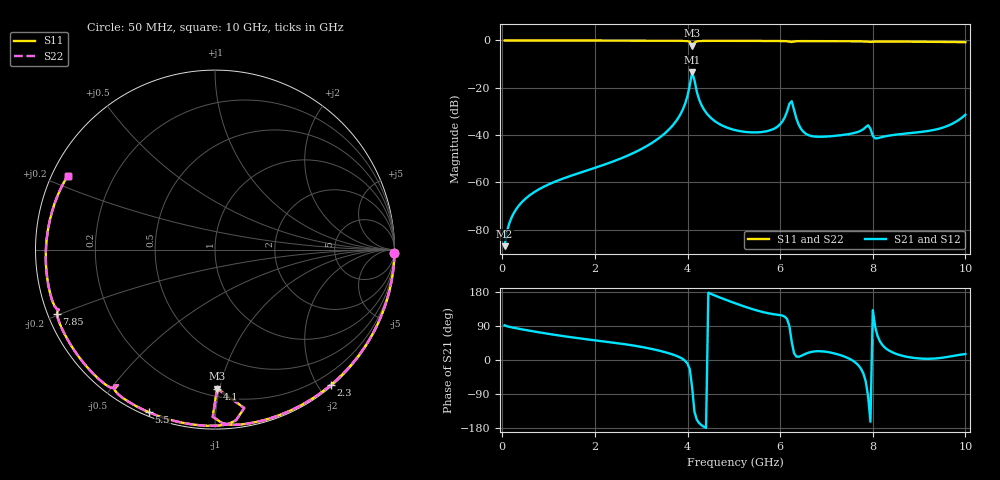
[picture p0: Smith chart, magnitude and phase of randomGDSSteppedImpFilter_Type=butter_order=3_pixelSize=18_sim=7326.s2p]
! freq	dB(S11)	phase(S11)	dB(S12)	phase(S12)
!  dB(S21)	phase(S21)	dB(S22)	phase(S22)
!S-par simulation data
#  GHz  S  DB  R 50
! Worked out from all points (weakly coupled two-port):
!   200 points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, 50 MHz to 10 GHz, reference 50 ohm
!   highest |S21| = -13.33 dB at 4.1 GHz (marker M1); lowest = -87.0 dB at 50 MHz (marker M2)
!   lowest |S11| = -2.2 dB at 4.1 GHz (marker M3), VSWR 7.85, Z = 12.7 - j49.1 ohm
!   |S11| at or under -10 dB: nowhere
!   |S22| runs from -2.2 to 0.0 dB; largest |S21 - S12| = 0
!   S11 on the Smith chart (normalised r, x): 50 MHz: open; 2.3 GHz: 0.02, -2.17; 4.1 GHz: 0.25, -0.98; 5.5 GHz: 0.02, -0.67; 7.85 GHz: 0.03, -0.19; 10 GHz: 0.05, +0.24
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0.05  -0.00 -1.1  -86.99 91.6  -86.99 91.6  -0.00 -1.1
0.6  -0.01 -13.2  -65.36 77.1  -65.36 77.1  -0.01 -13.2
1.75  -0.05 -37.9  -55.47 55.8  -55.47 55.8  -0.05 -37.9
2.3  -0.06 -49.5  -51.84 47.4  -51.84 47.4  -0.06 -49.5
3.4  -0.10 -72.3  -41.04 24.3  -41.04 24.3  -0.10 -72.3
3.9  -0.16 -83.8  -29.12 2.4  -29.12 2.4  -0.16 -83.7
4  -0.28 -87.6  -23.44 -9.7  -23.44 -9.7  -0.28 -87.5
4.1  -2.22 -89.1  -13.33 -73.2  -13.33 -73.2  -2.20 -89.0
4.15  -0.94 -79.5  -16.82 -136.6  -16.82 -136.6  -0.93 -79.6
4.25  -0.24 -85.3  -24.93 -166.3  -24.93 -166.3  -0.24 -85.3
4.4  -0.16 -89.7  -30.48 -179.3  -30.48 -179.3  -0.16 -89.7
5.05  -0.17 -103.3  -38.00 148.8  -38.00 148.8  -0.17 -103.3
5.5  -0.19 -112.1  -38.87 130.6  -38.87 130.6  -0.19 -112.0
5.95  -0.23 -121.0  -36.32 119.3  -36.32 119.3  -0.23 -120.9
6.25  -0.64 -125.6  -25.69 48.1  -25.69 48.1  -0.65 -125.6
6.45  -0.28 -129.3  -37.36 10.7  -37.36 10.7  -0.28 -129.3
6.7  -0.28 -134.5  -40.51 22.0  -40.51 22.0  -0.28 -134.4
7.85  -0.45 -157.9  -36.63 -57.4  -36.63 -57.4  -0.45 -157.8
8.05  -0.47 -160.6  -41.40 89.0  -41.40 89.0  -0.47 -160.6
8.35  -0.45 -167.2  -40.24 25.0  -40.24 25.0  -0.45 -167.2
9.45  -0.60 167.8  -37.23 5.2  -37.23 5.2  -0.60 167.9
10  -0.75 153.4  -31.41 15.7  -31.41 15.7  -0.74 153.5
